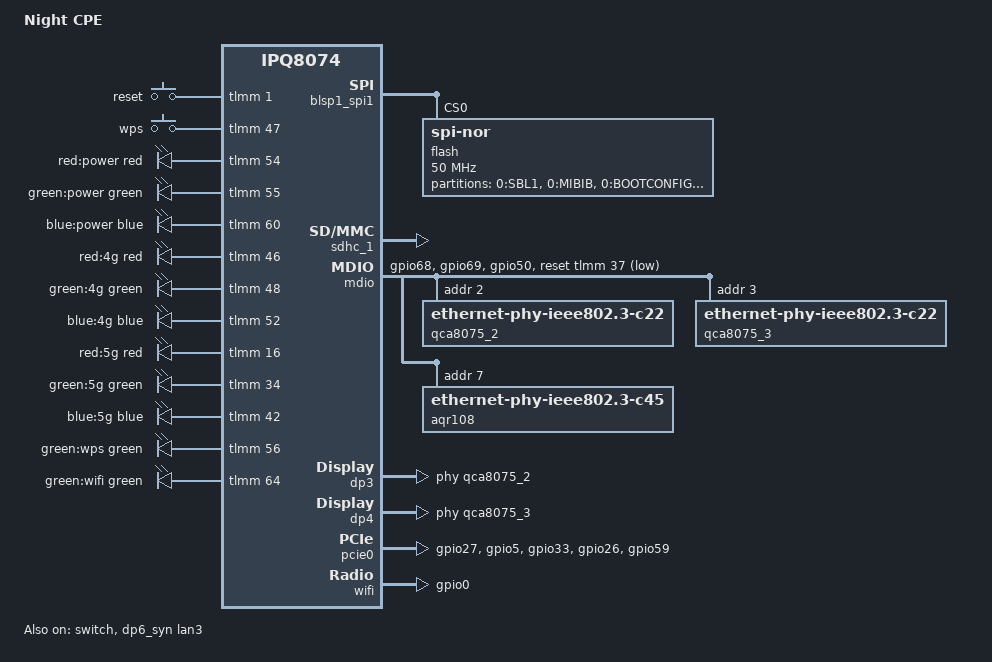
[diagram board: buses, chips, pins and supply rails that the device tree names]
// SPDX-License-Identifier: GPL-2.0-or-later OR MIT

/dts-v1/;

#include "ipq8074.dtsi"
#include "ipq8074-hk-cpu.dtsi"
#include "ipq8074-ess.dtsi"
#include "ipq8074-nss.dtsi"
#include "ipq8074-common.dtsi"

#include <dt-bindings/gpio/gpio.h>
#include <dt-bindings/input/input.h>
#include <dt-bindings/leds/common.h>

/ {
	model = "Night CPE";
	compatible = "night,cpe", "qcom,ipq8074";

	aliases {
		serial0 = &blsp1_uart5;

		led-boot = &led_power_red;
		led-failsafe = &led_power_red;
		led-running = &led_power_green;
		led-upgrade = &led_power_blue;

		ethernet1 = &dp3;
		ethernet2 = &dp4;
		ethernet3 = &dp6_syn;

		label-mac-device = &dp3;
	};

	chosen {
		stdout-path = "serial0:115200n8";
	};

	keys {
		compatible = "gpio-keys";
		pinctrl-0 = <&iot_pins>;
		pinctrl-names = "default";

		reset {
			label = "reset";
			gpios = <&tlmm 1 GPIO_ACTIVE_HIGH>;
			linux,code = <KEY_RESTART>;
		};

		wps {
			label = "wps";
			gpios = <&tlmm 47 GPIO_ACTIVE_HIGH>;
			linux,code = <KEY_WPS_BUTTON>;
		};
	};

	leds {
		compatible = "gpio-leds";

		led_power_red: power-red {
			label = "red:power";
			gpios = <&tlmm 54 GPIO_ACTIVE_HIGH>;
			color = <LED_COLOR_ID_RED>;
		};

		led_power_green: power-green {
			label = "green:power";
			gpios = <&tlmm 55 GPIO_ACTIVE_HIGH>;
			color = <LED_COLOR_ID_GREEN>;
		};

		led_power_blue: power-blue {
			label = "blue:power";
			gpios = <&tlmm 60 GPIO_ACTIVE_HIGH>;
			color = <LED_COLOR_ID_BLUE>;
		};

		led_4g_red: net4g-red {
			label = "red:4g";
			gpios = <&tlmm 46 GPIO_ACTIVE_HIGH>;
			color = <LED_COLOR_ID_RED>;
		};

		led_4g_green: net4g-green {
			label = "green:4g";
			gpios = <&tlmm 48 GPIO_ACTIVE_HIGH>;
			color = <LED_COLOR_ID_GREEN>;
		};

		led_4g_blue: net4g-blue {
			label = "blue:4g";
			gpios = <&tlmm 52 GPIO_ACTIVE_HIGH>;
			color = <LED_COLOR_ID_BLUE>;
		};

		led_5g_red: net5g-red {
			label = "red:5g";
			gpios = <&tlmm 16 GPIO_ACTIVE_HIGH>;
			color = <LED_COLOR_ID_RED>;
		};

		led_5g_green: net5g-green {
			label = "green:5g";
			gpios = <&tlmm 34 GPIO_ACTIVE_HIGH>;
			color = <LED_COLOR_ID_GREEN>;
		};

		led_5g_blue: net5g-blue {
			label = "blue:5g";
			gpios = <&tlmm 42 GPIO_ACTIVE_HIGH>;
			color = <LED_COLOR_ID_BLUE>;
		};

		led_wps_green: wps-green {
			label = "green:wps";
			gpios = <&tlmm 56 GPIO_ACTIVE_HIGH>;
			color = <LED_COLOR_ID_GREEN>;
		};

		led_wifi_green: wifi-green {
			label = "green:wifi";
			gpios = <&tlmm 64 GPIO_ACTIVE_HIGH>;
			color = <LED_COLOR_ID_GREEN>;
		};
	};
};

&tlmm {
	mdio_pins: mdio-pins {
		mdc {
			pins = "gpio68";
			function = "mdc";
			drive-strength = <8>;
			bias-pull-up;
		};

		mdio {
			pins = "gpio69";
			function = "mdio";
			drive-strength = <8>;
			bias-pull-up;
		};

		mux {
			pins = "gpio50";
			function = "gpio";
			drive-strength = <8>;
			output-high;
			bias-pull-up;
		};
	};

	iot_pins: iot_pins {
		wps_button {
			pins = "gpio47";
			function = "gpio";
			drive-strength = <8>;
			bias-pull-up;
		};

		reset_button {
			pins = "gpio1";
			function = "gpio";
			drive-strength = <8>;
			bias-pull-up;
		};
	};

	pcie0_wake_gpio: pcie0_wake_gpio {
		pins = "gpio59";
		function = "pcie0_wake";
		drive-strength = <8>;
		bias-pull-up;
	};

	power5v_pa_en_gpio: power5v_pa_en_gpio {
		mux {
			pins = "gpio0";
			function = "gpio";
			drive-strength = <8>;
			bias-pull-up;
			output-high;
		};
	};

	pcie_sdx_gpio: pcie_sdx_gpio {
		ap2mdm_err_ftl {
			pins = "gpio27";
			function = "gpio";
			drive-strength = <8>;
			bias-pull-down;
		};

		sdx_pon_gpio {
			pins = "gpio5";
			function = "gpio";
			drive-strength = <8>;
			bias-pull-up;
			output-high;
		};

		mdm2ap_err_ftl {
			pins = "gpio33";
			function = "gpio";
			drive-strength = <8>;
			bias-pull-down;
		};
		
		ap2mdm_status {
			pins = "gpio26";
			function = "gpio";
			drive-strength = <8>;
			bias-pull-up;
			output-high;
		};
	};
};

&blsp1_uart3 {
	status = "disabled";
};

&blsp1_i2c2 {
	status = "disabled";
};

&blsp1_spi1 {
	status = "okay";

	flash@0 {
		#address-cells = <1>;
		#size-cells = <1>;
		reg = <0>;
		compatible = "jedec,spi-nor";
		spi-max-frequency = <50000000>;

		partitions {
			compatible = "fixed-partitions";
			#address-cells = <1>;
			#size-cells = <1>;

			partition@0 {
				label = "0:SBL1";
				reg = <0x0 0x50000>;
				read-only;
			};

			partition@50000 {
				label = "0:MIBIB";
				reg = <0x50000 0x10000>;
				read-only;
			};

			partition@60000 {
				label = "0:BOOTCONFIG";
				reg = <0x60000 0x20000>;
				read-only;
			};

			partition@80000 {
				label = "0:BOOTCONFIG1";
				reg = <0x80000 0x20000>;
				read-only;
			};

			partition@a0000 {
				label = "0:QSEE";
				reg = <0xa0000 0x180000>;
				read-only;
			};

			partition@220000 {
				label = "0:QSEE_1";
				reg = <0x220000 0x180000>;
				read-only;
			};

			partition@3a0000 {
				label = "0:DEVCFG";
				reg = <0x3a0000 0x10000>;
				read-only;
			};

			partition@3b0000 {
				label = "0:DEVCFG_1";
				reg = <0x3b0000 0x10000>;
				read-only;
			};

			partition@3c0000 {
				label = "0:APDP";
				reg = <0x3c0000 0x10000>;
				read-only;
			};

			partition@3d0000 {
				label = "0:APDP_1";
				reg = <0x3d0000 0x10000>;
				read-only;
			};

			partition@3e0000 {
				label = "0:RPM";
				reg = <0x3e0000 0x40000>;
				read-only;
			};

			partition@420000 {
				label = "0:RPM_1";
				reg = <0x420000 0x40000>;
				read-only;
			};

			partition@460000 {
				label = "0:CDT";
				reg = <0x460000 0x10000>;
				read-only;
			};

			partition@470000 {
				label = "0:CDT_1";
				reg = <0x470000 0x10000>;
				read-only;
			};

			partition@480000 {
				label = "0:APPSBLENV";
				reg = <0x480000 0x10000>;
			};

			partition@490000 {
				label = "0:APPSBL";
				reg = <0x490000 0xa0000>;
				read-only;
			};

			partition@530000 {
				label = "0:APPSBL_1";
				reg = <0x530000 0xa0000>;
				read-only;
			};

			partition@5d0000 {
				label = "0:ART";
				reg = <0x5d0000 0x40000>;
				read-only;
			};

			partition@610000 {
				label = "0:ETHPHYFW";
				reg = <0x610000 0x80000>;
				read-only;
			};
		};
	};
};

&sdhc_1 {
	/delete-property/ mmc-hs400-1_8v;
	mmc-hs200-1_8v;
	mmc-ddr-1_8v;
	vqmmc-supply = <&l11>;
	status = "okay";
};

&mdio {
	status = "okay";
	pinctrl-0 = <&mdio_pins>;
	pinctrl-names = "default";
	reset-gpios = <&tlmm 37 GPIO_ACTIVE_LOW>,
			  <&tlmm 50 GPIO_ACTIVE_HIGH>;

	qca8075_2: ethernet-phy@2 {
		compatible = "ethernet-phy-ieee802.3-c22";
		reg = <2>;
	};

	qca8075_3: ethernet-phy@3 {
		compatible = "ethernet-phy-ieee802.3-c22";
		reg = <3>;
	};

	aqr108: ethernet-phy@5 {
		compatible = "ethernet-phy-ieee802.3-c45";
		reg = <7>;
	};
};

&switch {
	status = "okay";
	switch_lan_bmp = <(ESS_PORT3 | ESS_PORT4 | ESS_PORT6)>;
	switch_mac_mode = <MAC_MODE_PSGMII>;
	switch_mac_mode2 = <MAC_MODE_USXGMII>;

	qcom,port_phyinfo {
		port@2 {
			port_id = <3>;
			phy_address = <2>;
		};
		port@3 {
			port_id = <4>;
			phy_address = <3>;
		};
		port@5 {
			port_id = <6>;
			phy_address = <7>;
			ethernet-phy-ieee802.3-c45;
		};
	};
};

&edma {
	status = "okay";
};

&dp3 {
	status = "okay";
	phy-handle = <&qca8075_2>;
	label = "lan1";
};

&dp4 {
	status = "okay";
	phy-handle = <&qca8075_3>;
	label = "lan2";
};

&dp6_syn {
	status = "okay";
	phy-handle = <&aqr108>;
	label = "lan3";
};

&pcie0 {
	status = "okay";
	pinctrl-0 = <&pcie_sdx_gpio>, <&pcie0_wake_gpio>;
	pinctrl-names = "default";
	perst-gpios = <&tlmm 58 GPIO_ACTIVE_LOW>;
};

&wifi {
	status = "okay";
	pinctrl-0 = <&power5v_pa_en_gpio>;
	pinctrl-names = "default";
	qcom,ath11k-calibration-variant = "Night-CPE";
};
